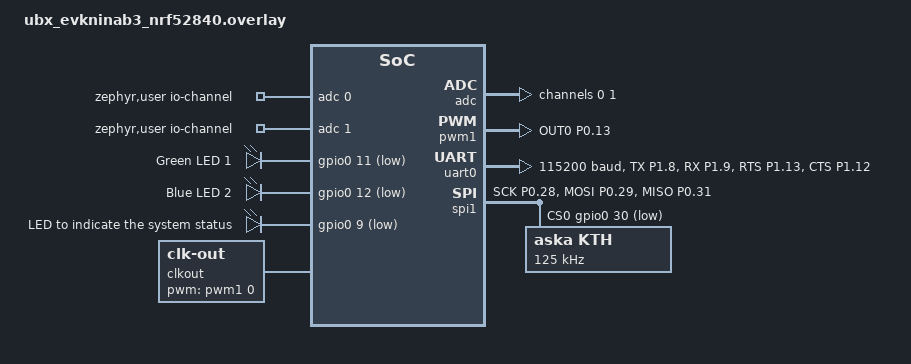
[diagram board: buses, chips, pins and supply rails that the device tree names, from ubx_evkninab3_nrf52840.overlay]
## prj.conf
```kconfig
#
# Copyright (c) 2016 Intel Corporation
#
# SPDX-License-Identifier: Apache-2.0
#
# Logging


# Enable the UART driver
CONFIG_UART_ASYNC_API=y
CONFIG_NRFX_UARTE=y
CONFIG_SERIAL=y

CONFIG_GPIO=y

# Make sure printk is printing to the UART console
CONFIG_CONSOLE=y
CONFIG_UART_CONSOLE=y

#CONFIG_HEAP_MEM_POOL_SIZE=2048
CONFIG_HEAP_MEM_POOL_SIZE=4096

CONFIG_BT=y
CONFIG_BT_PERIPHERAL=y
CONFIG_BT_DEVICE_NAME="Nordic_UART_Service"
CONFIG_BT_MAX_CONN=1
CONFIG_BT_MAX_PAIRED=1

# Enable the NUS service
# STEP 1 - Enable the Kconfig symbol of the NUS service
CONFIG_BT_NUS=y
CONFIG_USB_DEVICE_STACK=n

# Enable bonding
CONFIG_BT_SETTINGS=y
CONFIG_FLASH=y
CONFIG_FLASH_PAGE_LAYOUT=y
CONFIG_FLASH_MAP=y

# Enable DK LED and Buttons library
CONFIG_DK_LIBRARY=y

# This example requires more stack
CONFIG_MAIN_STACK_SIZE=2048
CONFIG_SYSTEM_WORKQUEUE_STACK_SIZE=2048

# Config logger
CONFIG_LOG=y
CONFIG_USE_SEGGER_RTT=y
CONFIG_LOG_BACKEND_RTT=y
CONFIG_LOG_BACKEND_UART=n
CONFIG_LOG_PRINTK=n

CONFIG_ASSERT=y

# NINA RELATED CONFIGS

CONFIG_LOG=y

CONFIG_PWM=y
CONFIG_LED=y
CONFIG_LED_PWM=y
CONFIG_PWM_LOG_LEVEL_DBG=y
CONFIG_SPI=y

# Enable the UART driver
# CONFIG_UART_ASYNC_API=y
# CONFIG_NRFX_UARTE=y
# CONFIG_SERIAL=y

# CONFIG_GPIO=y

# CONFIG_CONSOLE=y
# CONFIG_UART_CONSOLE=y

# HIGH THROUGHPUT CONFIGS
CONFIG_FPU=y

#interval and timeout settings (min 6 = 7.5 ms)
CONFIG_BT_PERIPHERAL_PREF_MIN_INT=6
CONFIG_BT_PERIPHERAL_PREF_MAX_INT=6
CONFIG_BT_PERIPHERAL_PREF_LATENCY=0
CONFIG_BT_PERIPHERAL_PREF_TIMEOUT=400
CONFIG_BT_GAP_AUTO_UPDATE_CONN_PARAMS=y

CONFIG_BT_USER_PHY_UPDATE=y

# Enable GATT client to allow for MTU and Data Length updates
CONFIG_BT_GATT_CLIENT=y

CONFIG_BT_USER_DATA_LEN_UPDATE=y
CONFIG_BT_CTLR_DATA_LENGTH_MAX=251
CONFIG_BT_BUF_ACL_RX_SIZE=251
CONFIG_BT_BUF_ACL_TX_SIZE=251
CONFIG_BT_L2CAP_TX_MTU=247

#change the UART buffer as needed (default = 40)
CONFIG_BT_NUS_UART_BUFFER_SIZE=512
#RX_WAIT_TIME is in us and not in ms!
CONFIG_BT_NUS_UART_RX_WAIT_TIME=5000

#ADC
CONFIG_NRFX_SAADC=y
CONFIG_NRFX_GPPI=y
CONFIG_NRFX_TIMER=y

#CONFIG_HEAP_MEM_POOL_SIZE=1024
```

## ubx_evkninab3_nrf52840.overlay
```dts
/* For more help, browse the devicetree documentation at https://docs.zephyrproject.org/latest/build/dts/index.html
 * You can also visit the nRF DeviceTree extension documentation at https://docs.nordicsemi.com/bundle/nrf-connect-vscode/page/guides/ncs_configure_app.html#devicetree-support-in-the-extension
 */
/*
/ {
	chosen {
		zephyr,console = &cdc_acm_uart0;
	};
};

&zephyr_udc0 {
	cdc_acm_uart0: cdc_acm_uart0 {
		compatible = "zephyr,cdc-acm-uart";
	};
};
*/
/ {
	chosen {
		nordic,nus-uart = &uart0;
	};
};
/ {
	zephyr,user {
		io-channels = <&adc 0>, <&adc 1>;
	};
};

&uicr {
    nfct-pins-as-gpios;
};


/ {
    leds {
		compatible = "gpio-leds";
		led1: led_1 {
			gpios = <&gpio0 11 GPIO_ACTIVE_LOW>;        /*GPIO_32 */
			label = "Green LED 1";
		};

		led2: led_2 {
			gpios = <&gpio0 12 GPIO_ACTIVE_LOW>;
			label = "Blue LED 2";
		};
	};
};

/ {
    custom_gpios{
        compatible = "custom-gpios";

        out1: out_1_pin{
            gpios = <&gpio0 14 GPIO_ACTIVE_HIGH>;      /*GPIO_2 */
            label = "Digital output 1 KTH Logger";
        };

        out2: out_2_pin{
            gpios = <&gpio0 10 GPIO_ACTIVE_HIGH>;     /*GPIO_29 */
            label = "Digital output 2 KTH Logger";
        };
    };
};

/ {
    test_led {
        compatible = "gpio-leds";

        status_led: status_led_pin{
            gpios = <&gpio0 9 GPIO_ACTIVE_LOW>;      /*GPIO_28 */
			label = "LED to indicate the system status";
        };
    };
};




&adc {
	#address-cells = <1>;
	#size-cells = <0>;
	status = "okay";

	//Sensor 1
	channel@0 {
		reg = <0>;
		zephyr,gain = "ADC_GAIN_1_6";
		zephyr,reference = "ADC_REF_INTERNAL";
		zephyr,acquisition-time = <ADC_ACQ_TIME_DEFAULT>;
		zephyr,input-positive = <NRF_SAADC_AIN0>;           /* GPIO_18 */
		zephyr,resolution = <12>;
	};

	//Sensor 2
	channel@1 {
		reg = <1>;
		zephyr,gain = "ADC_GAIN_1_6";
		zephyr,reference = "ADC_REF_INTERNAL";
		zephyr,acquisition-time = <ADC_ACQ_TIME_DEFAULT>;
		zephyr,input-positive = <NRF_SAADC_AIN2>;           /* GPIO_25 */
		zephyr,resolution = <12>;
	};
};


/{
    aliases{
        statusled = &status_led;
        out1  = &out1;
        out2 = &out2;
    };
};

/ {
    clkout: clkout {
        compatible = "clk-out";
        pwms = <&pwm1 0 PWM_USEC(50) PWM_POLARITY_NORMAL>;
        min-pulse = <PWM_USEC(25)>;
        max-pulse = <PWM_USEC(25)>;
    };
};

&pwm1 {
    status = "okay";
    pinctrl-0 = <&pwm1_custom_clk>;
    pinctrl-1 = <&pwm1_csleep_clk>;
    pinctrl-names = "default", "sleep";
};


&uart0 {
	compatible = "nordic,nrf-uarte";
	status = "okay";
	current-speed = <115200>;
	pinctrl-0 = <&uart0_custom>;
	pinctrl-1 = <&uart0_csleep>;
	pinctrl-names = "default", "sleep";
};

&spi1 {
    compatible = "nordic,nrf-spi"; //using SPI as per ERRATA 58
    status = "okay";
    pinctrl-0 = <&spi1_default>;
    pinctrl-1 = <&spi1_sleep>;
    pinctrl-names = "default", "sleep";
    cs-gpios = <&gpio0 30 GPIO_ACTIVE_LOW>;             /*GPIO_24 */
   	aska: aska@0 {
        compatible = "aska,kth";
        reg = <0>;
        spi-max-frequency = <125000>;
    };
};


&pinctrl {
	uart0_custom: uart0_custom {
		group1 {
			psels = <NRF_PSEL(UART_TX, 1, 8)>,          /*GPIO_34 */
				<NRF_PSEL(UART_RX, 1, 9)>,              /*GPIO_33 */
				<NRF_PSEL(UART_RTS, 1, 13)>,            /*GPIO_22*/
				<NRF_PSEL(UART_CTS, 1, 12)>;            /*GPIO_21*/
		};
	};

	uart0_csleep: uart0_csleep {
		group1 {
			psels = <NRF_PSEL(UART_TX, 1, 8)>,          /*GPIO_34 */
				<NRF_PSEL(UART_RX, 1, 9)>,              /*GPIO_33 */
				<NRF_PSEL(UART_RTS, 1, 13)>,            /*GPIO_22*/
				<NRF_PSEL(UART_CTS, 1, 12)>;            /*GPIO_21*/
			low-power-enable;
		};
	};

	spi1_default: spi1_default {
        group1 {
            psels = <NRF_PSEL(SPIM_SCK, 0, 28)>,		/*GPIO_17  */
                    <NRF_PSEL(SPIM_MOSI, 0, 29)>,		/*GPIO_23 */
                    <NRF_PSEL(SPIM_MISO, 0, 31)>;		/*GPIO_20 */
        };
    };
    spi1_sleep: spi1_sleep {
        group1 {
            psels = <NRF_PSEL(SPIM_SCK, 0, 28)>,		/*GPIO_17 */
                    <NRF_PSEL(SPIM_MOSI, 0, 29)>,		/*GPIO_23 */
                    <NRF_PSEL(SPIM_MISO, 0, 31)>;		/*GPIO_20 */
            low-power-enable;
        };
    };

	pwm1_custom_clk: pwm1_custom_clk {
        group1 {
            psels = <NRF_PSEL(PWM_OUT0, 0, 13)>;         /*GPIO 1 */
            nordic,invert;
        };
    };
    pwm1_csleep_clk: pwm1_csleep_clk {
        group1 {
            psels = <NRF_PSEL(PWM_OUT0, 0, 13)>;         /*GPIO 1 */
            low-power-enable;
        };
    };

};



/ {
    chosen {
        zephyr,storage = &storage_partition;
    };
};
```

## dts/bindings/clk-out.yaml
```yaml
# Copyright (c) 2022 Nordic Semiconductor ASA
# SPDX-License-Identifier: Apache-2.0

# STEP 5.1 - Create a device binding for the servo

description: Clock generated using PWM driver

compatible: "clk-out"

include: base.yaml

properties:
  pwms:
    required: true
    type: phandle-array
    description: PWM specifier driving the clk.

  min-pulse:
    required: true
    type: int
    description: Minimum pulse width (nanoseconds).

  max-pulse:
    required: true
    type: int
    description: Maximum pulse width (nanoseconds).
  
```

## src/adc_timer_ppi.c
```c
#include "adc_timer_ppi.h"
#include <zephyr/sys/printk.h> 
#include <stdio.h>

/* STEP 3.1 - Define the SAADC sample interval in microseconds */
#define SAADC_SAMPLE_INTERVAL_US 1000

/* STEP 4.1 - Define the buffer size for the SAADC */
#define SAADC_BUFFER_SIZE 1

/* STEP 4.6 - Declare the struct to hold the configuration for the SAADC channel used to sample the battery voltage */
#define SAADC_INPUT_PIN NRFX_ANALOG_EXTERNAL_AIN0
static nrfx_saadc_channel_t channel = NRFX_SAADC_DEFAULT_CHANNEL_SE(SAADC_INPUT_PIN, 0);

/* STEP 3.2 - Declaring an instance of nrfx_timer for TIMER2. */
#define TIMER_INSTANCE_NUMBER NRF_TIMER2
static nrfx_timer_t timer_instance = NRFX_TIMER_INSTANCE(TIMER_INSTANCE_NUMBER);

/* STEP 4.2 - Declare the buffers for the SAADC */
static int16_t saadc_sample_buffer[2][SAADC_BUFFER_SIZE];

/* STEP 4.3 - Declare variable used to keep track of which buffer was last assigned to the SAADC driver */
static uint32_t saadc_current_buffer = 0;

/**
 * ADC FIFO RELATED CODE
 */
 
 K_FIFO_DEFINE(ADCfifo);

 uint16_t ADC_data[MAX_DATA_SIZE];
 uint16_t ADC_data_counter = 0;

nrfx_gppi_handle_t gppi_handle_sample;
nrfx_gppi_handle_t gppi_handle_start;

void test()
{
    //LOG_ERR("TEST");
    printk("TEST\n");
}

void configure_timer(void)
{
    int err;

    /* STEP 3.3 - Declaring timer config and intialize nrfx_timer instance. */
    nrfx_timer_config_t timer_config = NRFX_TIMER_DEFAULT_CONFIG(1000000);

    err = nrfx_timer_init(&timer_instance, &timer_config, NULL);
    if (err != 0) {
	    printk("nrfx_timer_init error: %08x\n", err);
	    return;
    }

    /* STEP 3.4 - Set compare channel 0 to generate event every SAADC_SAMPLE_INTERVAL_US. */
    uint32_t timer_ticks = nrfx_timer_us_to_ticks(&timer_instance, SAADC_SAMPLE_INTERVAL_US);
    nrfx_timer_extended_compare(&timer_instance, NRF_TIMER_CC_CHANNEL0, timer_ticks, NRF_TIMER_SHORT_COMPARE0_CLEAR_MASK, false);

}

void saadc_event_handler(nrfx_saadc_evt_t const * p_event)
{
    int err;
    switch (p_event->type)
    {
        case NRFX_SAADC_EVT_READY:
        
           /* STEP 5.1 - Buffer is ready, timer (and sampling) can be started. */
            nrfx_timer_enable(&timer_instance);

            break;                        
            
        case NRFX_SAADC_EVT_BUF_REQ:
        
            /* STEP 5.2 - Set up the next available buffer. Alternate between buffer 0 and 1 */
        err = nrfx_saadc_buffer_set(saadc_sample_buffer[(saadc_current_buffer++)%2], SAADC_BUFFER_SIZE);
        if (err != 0) {
            printk("nrfx_saadc_buffer_set error: %08x\n", err);
            return;
        }

            break;

        case NRFX_SAADC_EVT_DONE:

            /* STEP 5.3 - Buffer has been filled. Do something with the data and proceed */
            int64_t average = 0;
            int16_t max = INT16_MIN;
            int16_t min = INT16_MAX;
            int16_t current_value;
            for (int i = 0; i < p_event->data.done.size; i++) {
	            current_value = ((int16_t *)(p_event->data.done.p_buffer))[i];
	            average += current_value;
	            if (current_value > max) {
		            max = current_value;
	            }
	            if (current_value < min) {
		            min = current_value;
	            }
            }
            average = average / p_event->data.done.size;
            //printk("SAADC buffer at 0x%x filled with %d samples\n", (uint32_t)p_event->data.done.p_buffer,
	        //    p_event->data.done.size);
            //printk("AVG=%d, MIN=%d, MAX=%d\n", (int16_t)average, min, max);

            /***************************
             * SAULS CODE STARTS HERE            
             */

            sendADCdata((int16_t)average);

            /************************
             * SAULS CODE ENDS HERE
             */

            break;

        default:
            printk("Unhandled SAADC evt %d\n", p_event->type);
            break;
    }
}

void configure_saadc(void)
{
    int err;

    /* STEP 4.4 - Connect ADC interrupt to nrfx interrupt handler */
    IRQ_CONNECT(DT_IRQN(DT_NODELABEL(adc)),
            DT_IRQ(DT_NODELABEL(adc), priority),
            nrfx_isr, nrfx_saadc_irq_handler, 0);

    /* STEP 4.5 - Initialize the nrfx_SAADC driver */
    err = nrfx_saadc_init(DT_IRQ(DT_NODELABEL(adc), priority));
    if (err != 0) {
        printk("nrfx_saadc_init error: %08x\n", err);
        return;
    }


    /* STEP 4.7 - Change gain config in default config and apply channel configuration */
    channel.channel_config.gain = NRF_SAADC_GAIN1_6;

    /**
     * SAULS CODE STARTS HERE
     */
        // Here we can set the desired acquisition time (e.g., 10 microseconds)
    //channel.channel_config.acq_time = NRF_SAADC_ACQTIME_10US;
    /**
     * SAULS CODE ENDS HERE
     */
    
    err = nrfx_saadc_channels_config(&channel, 1);
    if (err != 0) {
        printk("nrfx_saadc_channels_config error: %08x\n", err);
        return;
    }

    /* STEP 4.8 - Configure channel 0 in advanced mode with event handler (non-blocking mode) */
    nrfx_saadc_adv_config_t saadc_adv_config = NRFX_SAADC_DEFAULT_ADV_CONFIG;
    err = nrfx_saadc_advanced_mode_set(BIT(0),
                                    NRF_SAADC_RESOLUTION_12BIT,
                                    &saadc_adv_config,
                                    saadc_event_handler);
    if (err != 0) {
        printk("nrfx_saadc_advanced_mode_set error: %08x\n", err);
        return;
    }

    /* STEP 4.9 - Configure two buffers to make use of double-buffering feature of SAADC */
    err = nrfx_saadc_buffer_set(saadc_sample_buffer[0], SAADC_BUFFER_SIZE);
    if (err != 0) {
        printk("nrfx_saadc_buffer_set error: %08x\n", err);
        return;
    }
    err = nrfx_saadc_buffer_set(saadc_sample_buffer[1], SAADC_BUFFER_SIZE);
    if (err != 0) {
        printk("nrfx_saadc_buffer_set error: %08x\n", err);
        return;
    }

    /* STEP 4.10 - Trigger the SAADC. This will not start sampling, but will prepare buffer for sampling triggered through PPI */
    err = nrfx_saadc_mode_trigger();
    if (err != 0) {
      printk("nrfx_saadc_mode_trigger error: %08x\n", err);
    return;
    }

}

void configure_ppi(void)
{
    int err;
    /* STEP 6.1 - Declare variables used to hold the (D)PPI channel number */
    // nrfx_gppi_handle_t gppi_handle_sample;
    // nrfx_gppi_handle_t gppi_handle_start;

    /* STEP 6.2 - Trigger task sample from timer */
    err = nrfx_gppi_conn_alloc(nrfx_timer_compare_event_address_get(&timer_instance, NRF_TIMER_CC_CHANNEL0),
                              nrf_saadc_task_address_get(NRF_SAADC, NRF_SAADC_TASK_SAMPLE), &gppi_handle_sample);
    if (err != 0) {
        printk("nrfx_gppi_conn_alloc error: %08x\n", err);
        return;
    }


    /* STEP 6.3 - Trigger task start from end event */
        err = nrfx_gppi_conn_alloc(nrf_saadc_event_address_get(NRF_SAADC, NRF_SAADC_EVENT_END),
                               nrf_saadc_task_address_get(NRF_SAADC, NRF_SAADC_TASK_START), &gppi_handle_start);
    if (err != 0) {
        printk("nrfx_gppi_conn_alloc error: %08x\n", err);
        return;
    }

    /* STEP 6.4 - Enable both (D)PPI channels */ 
    // We enable the PPI in a separate function to allow the user to enable/disable the PPI from the Bluetooth command handler.
    //nrfx_gppi_conn_enable(gppi_handle_sample);
    //nrfx_gppi_conn_enable(gppi_handle_start);

}

/**
 * FIFO RELATED CODE
 */

void sendADCdata(int16_t adc_value)
{
    struct data_item_t *item;    

    //Data is converted to uint16_t and stored in the ADC_data array. If the value is negative, it is stored as 0.
    if (adc_value > 0) {
        ADC_data[ADC_data_counter++] = (uint16_t)adc_value;
    } else {
        ADC_data[ADC_data_counter++] = 0;                  
    }

    //printk("ADC_data_counter = %u, adc_value = %d\n", ADC_data_counter, adc_value);
    
    if (ADC_data_counter >= MAX_DATA_SIZE) {
        //struct data_item_t *item;
        item = k_malloc(sizeof(struct data_item_t));
        if (!item) {
            printk("Failed to allocate memory for item\n");
            return;
        }
        item->len = ADC_data_counter;
        memcpy(item->data, ADC_data, sizeof(uint16_t) * ADC_data_counter);

        // Commented out the printk statement to reduce console output and avoid potential performance issues
        //printk("Sending ADC data to FIFO: size: %u\n", item->len);
        k_fifo_put(&ADCfifo, item);
        ADC_data_counter = 0;
    }
}

void enable_pii(void)
{
    /* STEP 6.4 - Enable both (D)PPI channels */ 
    nrfx_gppi_conn_enable(gppi_handle_sample);
    nrfx_gppi_conn_enable(gppi_handle_start);
}

void disable_pii(void)
{
    /* STEP 6.4 - Disable both (D)PPI channels */ 
    nrfx_gppi_conn_disable(gppi_handle_sample);
    nrfx_gppi_conn_disable(gppi_handle_start);
}


 /*

 
void sendADCdata()
{
    struct data_item_t *item;    

    for (int i = 0; i < MAX_DATA_SIZE; i++) {
        ADC_data[i] = i;
        ADC_data_counter++;
        //printk("ADC_data[%d] = %u\n", i, ADC_data[i]);
    }
    
    if (ADC_data_counter >= MAX_DATA_SIZE) {
        //struct data_item_t *item;
        item = k_malloc(sizeof(struct data_item_t));
        if (!item) {
            printk("Failed to allocate memory for item\n");
            return;
        }
        item->len = ADC_data_counter;
        memcpy(item->data, ADC_data, sizeof(uint16_t) * ADC_data_counter);
        k_fifo_put(&ADCfifo, item);
        ADC_data_counter = 0;
    }
}
*/
```

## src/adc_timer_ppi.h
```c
#ifndef ADC_TIMER_PPI_H
#define ADC_TIMER_PPI_H

#include <zephyr/kernel.h>
#include <zephyr/logging/log.h>

//LOG_MODULE_REGISTER(Lesson6_Exercise3, LOG_LEVEL_DBG);

/* STEP 2 - Include header for nrfx drivers */
#include <nrfx_saadc.h>
#include <nrfx_timer.h>
#include <helpers/nrfx_gppi.h>

//Number of samples to be collected for the fifo
#define MAX_DATA_SIZE 32

//#define STACKSIZE		 2048
//#define CONSUMER_THREAD_PRIORITY 7

extern struct k_fifo ADCfifo;

struct data_item_t {
	void *fifo_reserved;
	uint16_t data[MAX_DATA_SIZE];
	uint16_t len;
};

void test();

void configure_timer(void);
void saadc_event_handler(nrfx_saadc_evt_t const * p_event);
void configure_saadc(void);
void configure_ppi(void);

void enable_pii(void);
void disable_pii(void);

//FIFO related code
void sendADCdata(int16_t adc_value);

#endif // ADC_TIMER_PPI_H
```

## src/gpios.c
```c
#include <zephyr/kernel.h>
#include <zephyr/device.h>
#include <zephyr/logging/log.h>
#include <zephyr/devicetree.h>
#include <stdio.h>
#include <zephyr/drivers/gpio.h>
#include "gpios.h"

LOG_MODULE_REGISTER(gpios, LOG_LEVEL_DBG);

static const struct gpio_dt_spec out1     =   GPIO_DT_SPEC_GET(OUT1_NODE, gpios);
static const struct gpio_dt_spec out2     =   GPIO_DT_SPEC_GET(OUT2_NODE, gpios);
//static const struct gpio_dt_spec status_led =   GPIO_DT_SPEC_GET(STATUS_LED_NODE, gpios);
//static const struct gpio_dt_spec enhv       =   GPIO_DT_SPEC_GET(ENHV_NODE, gpios);


int configure_KTH_logger_gpio(){
	int err;

    //configuration out1
	if (!gpio_is_ready_dt(&out1)) {
        LOG_ERR("Output 1 not ready");    
        return -1;
    }

    err = gpio_pin_configure_dt(&out1, GPIO_OUTPUT_INACTIVE);
	if (err < 0) {
        LOG_ERR("out1 failed to configure");    
        return err;
    }

    //configuration out2
    if (!gpio_is_ready_dt(&out2)) {
        LOG_ERR("Enable high voltage not ready");  
        return -1;
    }

	err = gpio_pin_configure_dt(&out2, GPIO_OUTPUT_INACTIVE);
	if (err < 0) {
        LOG_ERR("out2 failed to configure");            
        return err;
    }
    	
	return 0;
}

int out1_on()
{
    int err;
    err = gpio_pin_set_dt(&out1, 1);

    if (err){
        LOG_WRN("Cannot set Output 1 (%d)", err);            
    }
    return err;
}

int out1_off()
{
    int err;
    err = gpio_pin_set_dt(&out1, 0);

    if (err){
        LOG_WRN("Cannot set Output 1 (%d)", err);            
    }
    return err;

}

int out2_on()
{
    int err;
    err = gpio_pin_set_dt(&out2, 1);

    if (err){
        LOG_WRN("Cannot set Output 2 (%d)", err);            
    }
    return err;

}

int out2_off()
{
    int err;
    err = gpio_pin_set_dt(&out2, 0);

    if (err){
        LOG_WRN("Cannot set Output 2 (%d)", err);            
    }
    return err;
}


/*

int gpio_test_run(){
    int ret;

    ret = gpio_pin_toggle_dt(&resetn);
	if (ret < 0) {return 0;}

    ret = gpio_pin_toggle_dt(&enhv);
    if (ret < 0) {return 0;}

    ret = gpio_pin_toggle_dt(&status_led);
    if (ret < 0) {return 0;}

    return 0;
}

int en_hv_on(){
    int err;
    err = gpio_pin_set_dt(&enhv, 0);

    if (err){
        LOG_WRN("Cannot set Enable high voltage (%d)", err);            
    }
    return err;
}

int en_hv_off(){
    int err;
    err = gpio_pin_set_dt(&enhv, 1);

    if (err){
        LOG_WRN("Cannot reset Enable high voltage (%d)", err);            
    }
    return err;
}

int status_led_set(uint32_t val)
{
	int err;

	err = gpio_pin_set_dt(&status_led, val);
	if (err) {
		LOG_ERR("Cannot write LED gpio");
	}
	return err;
}

int resetn_high(){
    int err;
    err = gpio_pin_set_dt(&resetn, 0);
    //err = gpio_pin_toggle_dt(&resetn);

    if (err){
        LOG_WRN("Cannot set Resetn low (%d)", err);            
    }
    return err;
}

int resetn_low(){
    int err;
    err = gpio_pin_set_dt(&resetn, 1);

    if (err){
        LOG_WRN("Cannot set Resetn high (%d)", err);            
    }
    return err;
}

int toggle_resetn(){
    int ret;

    ret = resetn_low();
	if (ret < 0) {return ret;}

    k_msleep(10); 
    
    ret = resetn_high();
	if (ret < 0) {return ret;}

    return ret;
}

int gpio_init(){
    int ret;
    ret = gpio_configure();
    ret = en_hv_off();
    //ret = resetn_high();
    return ret;
}



*/
```

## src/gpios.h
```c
#include <zephyr/kernel.h>
#include <zephyr/device.h>
#include <zephyr/logging/log.h>
#include <zephyr/devicetree.h>
#include <stdio.h>
#include <zephyr/drivers/gpio.h>


#define OUT1_NODE	        DT_ALIAS(out1)
#define OUT2_NODE 	        DT_ALIAS(out2)
#define STATUS_LED_NODE 	DT_ALIAS(statusled)
#define ENHV_NODE 	        DT_ALIAS(enhv)


int configure_KTH_logger_gpio();

int out1_on();
int out1_off();

int out2_on();  
int out2_off(); 


/*
int en_hv_on();
int en_hv_off();

int status_led_set(uint32_t val);

int resetn_high();
int resetn_low();
int toggle_resetn();

int gpio_test_run();

*/
//int gpio_init();
```

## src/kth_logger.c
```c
#include "kth_logger.h"
#include <zephyr/sys/printk.h>

#include "adc_timer_ppi.h"
#include "gpios.h"
#include "pwm_clk.h"

// flag to indicate if samples should be sent or not
int KTH_LOGGER_send_samples;

// SPI related
struct spi_dt_spec spispec = SPI_DT_SPEC_GET(DT_NODELABEL(aska), SPIOP, 0);

int KTH_LOGGER_init(void)
{
    KTH_LOGGER_send_samples = KTH_LOGGER_SAMPlE_OFF;

    int err;

	err = spi_is_ready_dt(&spispec);
	if (!err) {
 		printk("Error: SPI device is not ready, err: %d\n", err);
 		return 0;
	} else {
        printk("SPI device is ready\n");    }

	return 1;
}   

int KTH_LOGGER_spi_write_buff(void *bufferData, size_t bufferSize)
{
    int err;

	struct spi_buf	tx_spi_buf 		= {.buf = bufferData, .len = bufferSize};
	struct spi_buf_set tx_spi_buf_set	= {.buffers = &tx_spi_buf, .count = 1};

	err = spi_write_dt(&spispec, &tx_spi_buf_set);
	if (err < 0) {
 		printk("spi_write_dt() failed, err %d", err);
 		return err;
	}

	return 0;
}

void KTH_LOGGER_write_reg(uint8_t add, uint32_t value)
{
    uint8_t tx_buffer[5];
	
    tx_buffer[0] = add;
    
    tx_buffer[1] = (uint8_t)(value >> 24) & 0xff;
    tx_buffer[2] = (uint8_t)(value >> 16) & 0xff;
    tx_buffer[3] = (uint8_t)(value >> 8) & 0xff;
    tx_buffer[4] = (uint8_t)(value >> 0) & 0xff;

    KTH_LOGGER_spi_write_buff(tx_buffer,5);

	//SPI_transaction(tx_buffer,5);
    //CS_SetLow();    
    //SPI1_WriteBlock(tx_buffer,5);
    //SPI1_BufferWrite(tx_buffer,5);    
    //CS_SetHigh();

}

void KTH_LOGGER_testSPI(void)
{
    uint8_t tx_buffer[5];

    tx_buffer[0] = 0x01; // Register address
    tx_buffer[1] = 0xaa; // Data byte 1
    tx_buffer[2] = 0xbb; // Data byte 2
    tx_buffer[3] = 0xcc; // Data byte 3
    tx_buffer[4] = 0xdd; // Data byte 4

    KTH_LOGGER_spi_write_buff(tx_buffer,5);

}

void KTH_LOGGER_getCommand(const uint8_t *data, size_t len)
{
        printk("Received command: %c", data[0]);

        switch (data[0]) {
            case 's':
                KTH_LOGGER_enableSampling();
                break;

            case 'S':
                KTH_LOGGER_disableSampling();
                break;

            case 'w':
                if (len == 6) {

                    uint8_t reg_addr = data[1];
                    uint32_t reg_value = 0;
                    
                    reg_value |= ((uint32_t)data[2] << 0);
                    reg_value |= ((uint32_t)data[3] << 8);
                    reg_value |= ((uint32_t)data[4] << 16);
                    reg_value |= ((uint32_t)data[5] << 24);     
                    KTH_LOGGER_write_reg(reg_addr, reg_value);
                    printk(" - Wrote value 0x%08X to register 0x%02X\n", reg_value, reg_addr);
                } else {
                    printk(" - Invalid write command format\n");
                }
                break;

            case 'o':
                out1_on();
                printk(" - Output 1 turned ON\n");
                break;

            case 'O':
                out1_off();
                printk(" - Output 1 turned OFF\n");
                break;

            case 'p':
                out2_on();
                printk(" - Output 1 turned ON\n");
                break;

            case 'P':
                out2_off();
                printk(" - Output 1 turned OFF\n");
                break;

            case 'c':
                if (len == 2) {
                    uint32_t freqKhz = (uint32_t)data[1];
                    pwm_clk_start(freqKhz); // Start PWM clock at specified frequency
                    printk(" - PWM clock started at %u kHz\n", freqKhz);
                } else {
                    printk(" - Invalid clock command format\n");
                }
                
                break;

            case 'C':
                pwm_clk_stop(); // Stop PWM clock
                printk(" - PWM clock stopped\n");
                break;
                
            default:
                printk(" - Invalid command\n");
                break;
        }
}

void KTH_LOGGER_enableSampling(void)
{
    KTH_LOGGER_send_samples = KTH_LOGGER_SAMPlE_ON;
    enable_pii();
    printk(" - Sending samples enabled\n");

}

void KTH_LOGGER_disableSampling(void)
{
    KTH_LOGGER_send_samples = KTH_LOGGER_SAMPlE_OFF;
    disable_pii();
    printk(" - Sending samples disabled\n");
}   
```

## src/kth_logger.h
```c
#ifndef KTH_LOGGER_H
#define LOGGER_H

#include <stdio.h>
#include <zephyr/kernel.h>
#include <zephyr/device.h>
#include <zephyr/devicetree.h>
#include <zephyr/drivers/gpio.h>
#include <zephyr/drivers/spi.h>

// SPI related
#define SPIOP	SPI_WORD_SET(8) | SPI_TRANSFER_MSB


// flag to indicate if samples should be sent or not
#define KTH_LOGGER_SAMPlE_OFF 0;
#define KTH_LOGGER_SAMPlE_ON 1;

extern int KTH_LOGGER_send_samples;

int KTH_LOGGER_init(void);
int KTH_LOGGER_spi_write_buff(void *bufferData, size_t bufferSize);
void KTH_LOGGER_write_reg(uint8_t add, uint32_t value);
void KTH_LOGGER_testSPI(void);

void KTH_LOGGER_getCommand(const uint8_t *data, size_t len);
void KTH_LOGGER_enableSampling(void);
void KTH_LOGGER_disableSampling(void);



#endif // KTH_LOGGER_H
```

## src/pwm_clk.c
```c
#include <zephyr/kernel.h>
//#include <zephyr/logging/log.h>
#include <zephyr/device.h>
#include <zephyr/drivers/pwm.h>
#include "pwm_clk.h"

LOG_MODULE_REGISTER(pwm_clk, LOG_LEVEL_DBG);

static const struct pwm_dt_spec pwm_clk_out = PWM_DT_SPEC_GET(CLK_OUT);

int pwm_clk_setup(){
     int err;
    
    err = pwm_is_ready_dt(&pwm_clk_out);

    if (!err) {
        LOG_ERR("Error: PWM device %s is not ready", pwm_clk_out.dev->name);
        return 0;
    }
    
    return err;
}

/*
int pwm_clk_start()
{
    int err;
    
    err = pwm_set_dt(&pwm_clk_out, PWM_CLK_PERIOD, PWM_CLK_PULSE_WIDTH);
    if (err) {
        LOG_ERR("Error: pwm_set_dt_returned %d", err);
    }
    return err;
}
*/

int pwm_clk_stop()
{
    int err;
    
    //err = pwm_set_dt(&pwm_clk_out, PWM_CLK_PERIOD, 0);
    err = pwm_set_dt(&pwm_clk_out, 0, 0);
    if (err) {
        LOG_ERR("Error: pwm_set_dt_returned %d", err);
    }
    return err;
}

int pwm_clk_start(uint32_t freqKhz)
{
    int err;
    uint32_t period = 1000000 / freqKhz; // Calculate period in nanoseconds
    uint32_t pulse_width = period / 2; // Set pulse width to 50% duty cycle
 

    err = pwm_set_dt(&pwm_clk_out, period, pulse_width);
    if (err) {
        LOG_ERR("Error: pwm_set_dt returned %d", err);
    }
    return err;

}
```

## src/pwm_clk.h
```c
#ifndef PWM_CLK_H
#define PWM_CLK_H

#include <zephyr/kernel.h>
#include <zephyr/logging/log.h>
#include <zephyr/device.h>
#include <zephyr/drivers/pwm.h>

#define CLK_OUT     DT_NODELABEL(clkout) 
//const struct pwm_dt_spec pwm_clk_out = PWM_DT_SPEC_GET(CLK_OUT);

#define PWM_CLK_MIN_PULSE_WIDTH    DT_PROP(CLK_OUT, min_pulse)
#define PWM_CLK_MAX_PULSE_WIDTH    DT_PROP(CLK_OUT, max_pulse)

#define PWM_CLK_PULSE_WIDTH PWM_USEC(25)
#define PWM_CLK_PERIOD   PWM_USEC(50)



int pwm_clk_setup();

//int pwm_clk_start();
int pwm_clk_start(uint32_t freqKhz);

int pwm_clk_stop();

int pwm_clk_set_pulse_width(uint32_t frequency);


#endif
```
